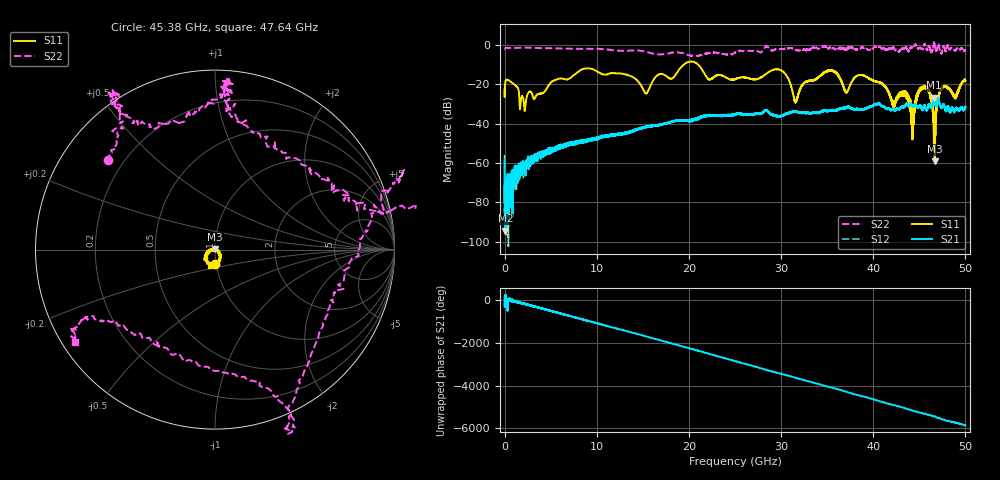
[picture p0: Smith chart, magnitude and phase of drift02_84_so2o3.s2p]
!Created with skrf (http://scikit-rf.org).
# Hz S RI R 50.0
!freq ReS11 ImS11 ReS21 ImS21 ReS12 ImS12 ReS22 ImS22
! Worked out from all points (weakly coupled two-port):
!   10001 points, 300 kHz to 50 GHz, reference 50 ohm
!   highest |S21| = -26.84 dB at 46.61 GHz (marker M1); lowest = -94.4 dB at 95.3 MHz (marker M2)
!   lowest |S11| = -59.1 dB at 46.68 GHz (marker M3), VSWR 1.00, Z = 50.1 + j0.0834 ohm
!   |S11| at or under -10 dB: start of sweep to 19.43 GHz; 21.01 GHz to end of sweep
!   |S22| runs from -5.7 to 2.3 dB; largest |S21 - S12| = 0.0033
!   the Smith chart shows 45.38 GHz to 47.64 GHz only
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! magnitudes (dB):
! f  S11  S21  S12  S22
! 300 kHz  -22.5  -58.9  -55.9  -2.1
! 95.3 MHz  -18.4  -94.4  -75.2  -1.5
! 2.19 GHz  -33.5  -60.7  -63.2  -1.3
! 8.335 GHz  -12.5  -49.2  -49.0  -1.9
! 15.34 GHz  -24.5  -41.4  -41.5  -3.3
! 16.67 GHz  -15.1  -40.6  -40.8  -4.7
! 20.31 GHz  -8.4  -38.3  -38.5  -5.5
! 25 GHz  -17.3  -35.1  -35.5  -3.9
! 29.84 GHz  -12.6  -36.3  -36.4  -2.0
! 31.6 GHz  -28.8  -33.6  -34.1  -2.5
! 33.34 GHz  -17.9  -34.5  -34.5  -1.6
! 35.61 GHz  -13.0  -33.2  -33.1  -1.6
! 37.11 GHz  -24.1  -31.6  -31.4  -2.5
! 38.77 GHz  -15.3  -32.7  -32.7  -1.0
! 41.67 GHz  -23.8  -32.1  -32.1  -1.9
! 43.52 GHz  -25.4  -30.3  -30.4  -1.2
! 44.27 GHz  -37.3  -31.2  -31.1  -1.4
! 45.74 GHz  -21.3  -32.9  -32.9  -1.5
! 46.61 GHz  -41.3  -26.8  -27.0  2.3
! 46.68 GHz  -59.1  -28.9  -28.8  0.1
! 47.49 GHz  -21.2  -31.8  -31.2  -3.0
! 50 GHz  -18.0  -31.8  -31.7  -2.7
